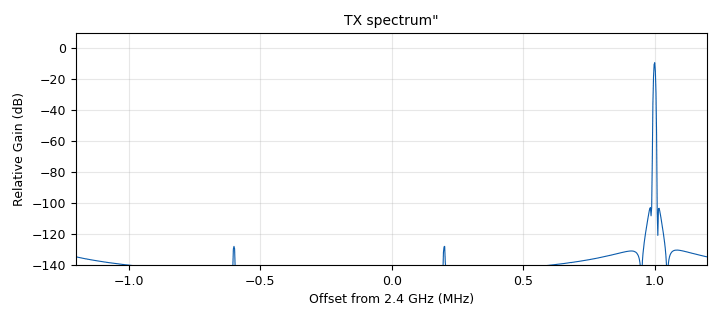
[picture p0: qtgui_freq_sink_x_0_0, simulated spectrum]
options:
  parameters:
    author: analog
    generate_options: qt_gui
    id: test1
    output_language: python
    title: Not titled yet
  states: {}

blocks:
- name: frecuencia
  id: variable_qtgui_range
  parameters:
    orient: Qt.Horizontal
    start: '90000000'
    step: '1000000'
    stop: '2450000000'
    value: '2400000000'
  states: {}
- name: samp_rate
  id: variable
  parameters:
    value: '2400000'
  states: {}
- name: signal_freq
  id: variable_qtgui_range
  parameters:
    orient: Qt.Horizontal
    start: '100000'
    step: '100000'
    stop: '2000000'
    value: '1000000'
  states: {}
- name: analog_sig_source_x_0
  id: analog_sig_source_x
  parameters:
    amp: '1'
    freq: signal_freq
    offset: '0'
    phase: '0'
    samp_rate: samp_rate
    type: complex
    waveform: analog.GR_COS_WAVE
  states: {}
- name: iio_fmcomms5_sink_0
  id: iio_fmcomms5_sink
  parameters:
    attenuation1: '0'
    attenuation2: '10.0'
    attenuation3: '10.0'
    attenuation4: '10.0'
    bandwidth: '20000000'
    buffer_size: '32768'
    cyclic: 'False'
    filter: ''
    frequency1: frecuencia
    frequency2: '2400000000'
    rf_port_select: '''B'''
    samplerate: samp_rate
    tx1_en: 'False'
    tx2_en: 'False'
    tx3_en: 'False'
    tx4_en: 'True'
    uri: 'local:'
  states: {}
- name: iio_fmcomms5_source_0
  id: iio_fmcomms5_source
  parameters:
    bandwidth: '20000000'
    bbdc: 'True'
    buffer_size: '32768'
    filter: ''
    frequency1: frecuencia
    frequency2: '2450000000'
    gain1: '''slow_attack'''
    gain2: '''manual'''
    gain3: '''manual'''
    gain4: '''manual'''
    manual_gain1: '64'
    manual_gain2: '64'
    manual_gain3: '64'
    manual_gain4: '64'
    quadrature: 'True'
    rf_port_select: '''A_BALANCED'''
    rfdc: 'True'
    rx1_en: 'True'
    rx2_en: 'False'
    rx3_en: 'False'
    rx4_en: 'False'
    samplerate: samp_rate
    uri: 'local:'
  states: {}
- name: qtgui_freq_sink_x_0
  id: qtgui_freq_sink_x
  parameters:
    bw: samp_rate
    fc: '2400000000'
    fftsize: '1024'
    name: '"RX spectrum"'
    type: complex
    wintype: firdes.WIN_BLACKMAN_hARRIS
  states: {}
- name: qtgui_freq_sink_x_0_0
  id: qtgui_freq_sink_x
  parameters:
    bw: samp_rate
    fc: '2400000000'
    fftsize: '1024'
    name: TX spectrum"
    type: complex
    wintype: firdes.WIN_BLACKMAN_hARRIS
  states: {}

connections:
- [analog_sig_source_x_0, '0', iio_fmcomms5_sink_0, '0']
- [analog_sig_source_x_0, '0', qtgui_freq_sink_x_0_0, '0']
- [iio_fmcomms5_source_0, '0', qtgui_freq_sink_x_0, '0']

metadata:
  file_format: 1
